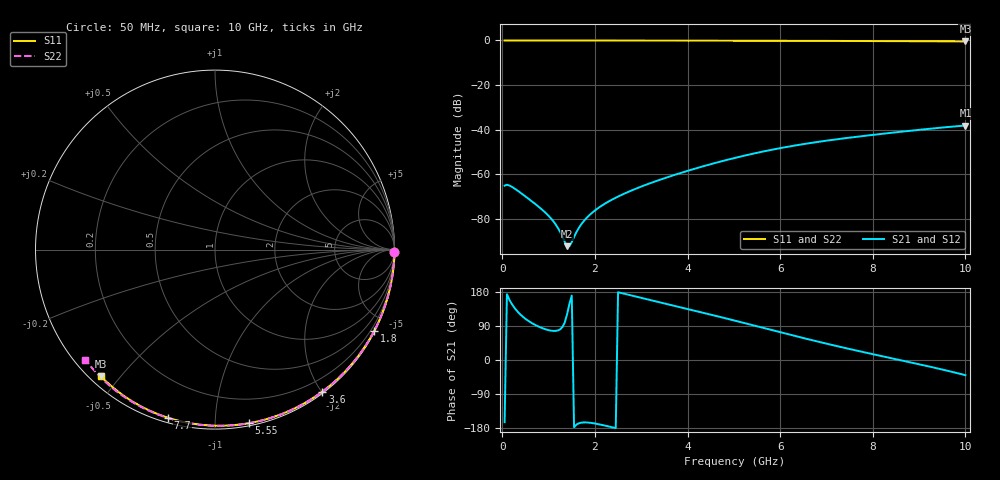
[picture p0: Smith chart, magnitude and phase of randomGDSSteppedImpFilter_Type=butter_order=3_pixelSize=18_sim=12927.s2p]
! freq	dB(S11)	phase(S11)	dB(S12)	phase(S12)
!  dB(S21)	phase(S21)	dB(S22)	phase(S22)
!S-par simulation data
#  GHz  S  DB  R 50
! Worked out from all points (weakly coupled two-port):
!   200 points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, 50 MHz to 10 GHz, reference 50 ohm
!   highest |S21| = -38.14 dB at 10 GHz (marker M1); lowest = -92.2 dB at 1.4 GHz (marker M2)
!   lowest |S11| = -0.4 dB at 10 GHz (marker M3), VSWR 38.92, Z = 1.54 - j22.2 ohm
!   |S11| at or under -10 dB: nowhere
!   |S22| runs from -0.5 to 0.0 dB; largest |S21 - S12| = 0
!   S11 on the Smith chart (normalised r, x): 50 MHz: open; 1.8 GHz: 0.04, -4.16; 3.6 GHz: 0.02, -2.01; 5.55 GHz: 0.02, -1.21; 7.7 GHz: 0.02, -0.76; 10 GHz: 0.03, -0.44
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0.05  -0.00 -0.8  -65.07 -164.0  -65.07 -164.0  -0.00 -0.8
0.1  -0.00 -1.5  -64.67 173.6  -64.67 173.6  -0.00 -1.6
0.15  -0.00 -2.3  -64.99 159.8  -64.99 159.8  -0.00 -2.4
0.3  -0.00 -4.6  -66.87 132.0  -66.87 132.0  -0.00 -4.8
0.8  -0.01 -12.1  -74.78 87.2  -74.78 87.2  -0.01 -12.9
1.05  -0.02 -15.9  -79.75 77.5  -79.75 77.5  -0.02 -16.8
1.4  -0.03 -21.1  -92.21 121.1  -92.21 121.1  -0.03 -22.4
1.75  -0.03 -26.3  -81.22 -164.8  -81.22 -164.8  -0.04 -27.8
1.8  -0.03 -27.1  -80.01 -164.7  -80.01 -164.7  -0.04 -28.6
2.05  -0.04 -30.7  -75.43 -168.8  -75.43 -168.8  -0.04 -32.5
2.35  -0.05 -35.1  -71.57 -176.8  -71.57 -176.8  -0.05 -37.1
2.85  -0.06 -42.3  -66.74 168.5  -66.74 168.5  -0.06 -44.7
3.4  -0.07 -50.1  -62.47 152.3  -62.47 152.3  -0.07 -53.0
3.6  -0.07 -52.9  -61.07 146.4  -61.07 146.4  -0.07 -55.9
4.3  -0.09 -62.5  -56.62 125.8  -56.62 125.8  -0.09 -66.0
5.05  -0.11 -72.5  -52.51 103.0  -52.51 103.0  -0.12 -76.6
5.55  -0.13 -79.0  -50.14 87.5  -50.14 87.5  -0.14 -83.4
6.7  -0.18 -93.5  -45.83 52.0  -45.83 52.0  -0.19 -98.6
7.7  -0.24 -105.5  -43.06 23.5  -43.06 23.5  -0.26 -111.3
8.35  -0.29 -113.2  -41.51 6.1  -41.51 6.1  -0.31 -119.4
9.2  -0.36 -123.0  -39.64 -16.7  -39.64 -16.7  -0.38 -129.9
10  -0.45 -132.1  -38.14 -40.0  -38.14 -40.0  -0.47 -139.7
